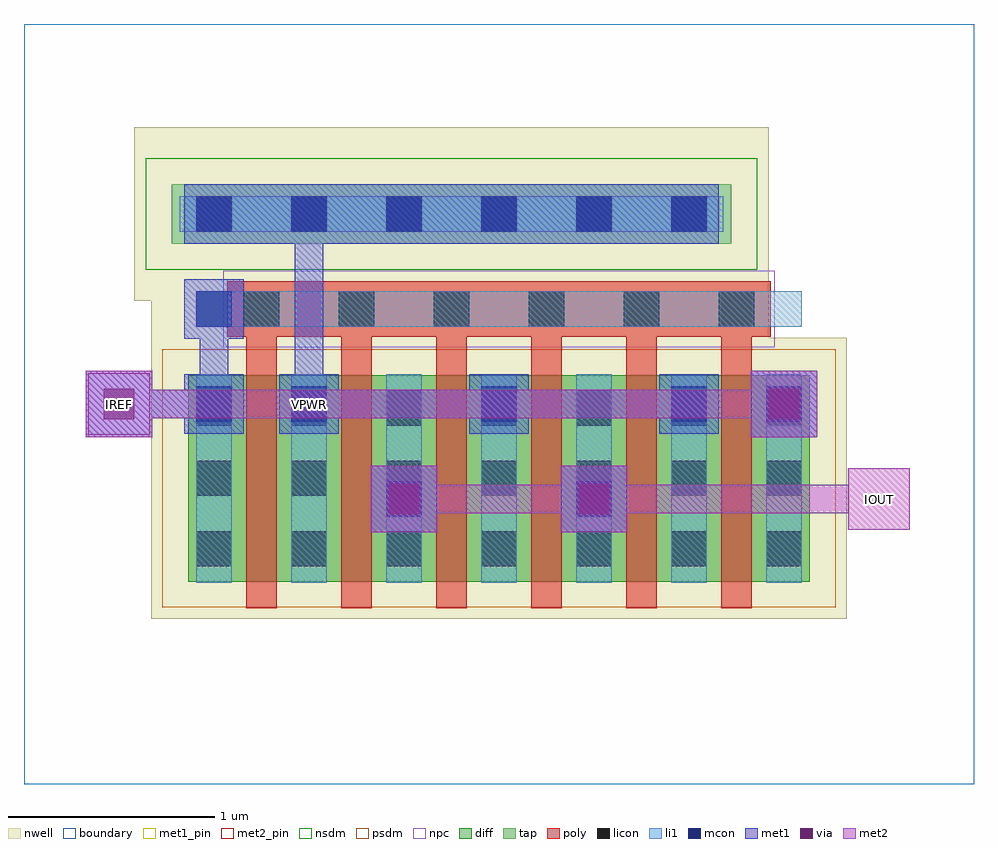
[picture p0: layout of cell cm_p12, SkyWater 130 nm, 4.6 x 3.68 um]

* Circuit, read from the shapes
.subckt cm_p12 IOUT IREF VPWR
XM1 VPWR IREF IREF VPWR sky130_fd_pr__pfet_01v8 w=1 l=0.15 m=2
XM2 IOUT IREF VPWR VPWR sky130_fd_pr__pfet_01v8 w=1 l=0.15 m=4
.ends

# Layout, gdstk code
import gdstk
lib = gdstk.Library(unit=1e-6, precision=1e-09)
def R(c, l, rs):  # rectangles x0, y0, x1, y1
    for r in rs: c.add(gdstk.rectangle(r[:2], r[2:], *l))
def A(c, l, x, y, w, h, nx, ny, dx, dy):  # array of equal rectangles
    R(c, l, [(x+i*dx, y+j*dy, x+i*dx+w, y+j*dy+h) for i in range(nx) for j in range(ny)])
nwell = (64, 20)
diff = (65, 20)
tap = (65, 44)
poly = (66, 20)
licon = (66, 44)
li1 = (67, 20)
mcon = (67, 44)
met1_pin = (68, 16)
met1 = (68, 20)
via = (68, 44)
met2_pin = (69, 16)
met2 = (69, 20)
nsdm = (93, 44)
psdm = (94, 20)
npc = (95, 20)
boundary = (235, 4)

cm_p12 = lib.new_cell('cm_p12')
R(cm_p12, nwell, [(0.615,0.8,3.985,2.16), (0.615,2.16,3.605,2.34), (0.535,2.34,3.605,3.18)])
R(cm_p12, diff, [(0.795,0.98,3.805,1.98)])
R(cm_p12, tap, [(0.715,2.615,3.425,2.905)])
A(cm_p12, poly, 1.075, 0.85, 0.15, 1.45, 6, 1, 0.46, 0)
R(cm_p12, poly, [(0.985,2.165,3.615,2.435)])
A(cm_p12, licon, 0.835, 1.055, 0.17, 0.17, 7, 3, 0.46, 0.34)
A(cm_p12, licon, 1.065, 2.215, 0.17, 0.17, 6, 1, 0.46, 0)
A(cm_p12, licon, 0.835, 2.675, 0.17, 0.17, 6, 1, 0.46, 0)
A(cm_p12, li1, 0.835, 0.975, 0.17, 1.01, 7, 1, 0.46, 0)
R(cm_p12, li1, [(0.835,2.215,3.765,2.385), (0.755,2.675,3.385,2.845)])
A(cm_p12, mcon, 1.295, 1.755, 0.17, 0.17, 3, 1, 0.92, 0)
A(cm_p12, mcon, 0.835, 2.675, 0.17, 0.17, 6, 1, 0.46, 0)
R(cm_p12, mcon, [(1.755,1.295,1.925,1.465), (2.675,1.295,2.845,1.465), (0.835,1.755,1.005,1.925), (3.595,1.755,3.765,1.925), (0.835,2.215,1.005,2.385)])
R(cm_p12, met1_pin, [(1.235,1.695,1.525,1.985)])
A(cm_p12, met1, 1.235, 1.695, 0.29, 0.29, 3, 1, 0.92, 0)
R(cm_p12, met1, [(1.68,1.22,2,1.54), (2.6,1.22,2.92,1.54), (1.695,1.235,1.985,1.525), (2.615,1.235,2.905,1.525), (0.3,1.68,0.62,2), (3.52,1.68,3.84,2), (0.775,1.695,1.065,1.985), (3.535,1.695,3.825,1.985), (0.39,1.77,0.99,1.91), (0.85,1.77,0.99,2.37), (1.31,1.77,2.37,1.91), (1.31,1.77,1.45,2.83), (2.23,1.77,3.29,1.91), (0.775,2.155,1.065,2.445), (0.775,2.615,3.365,2.905), (1.31,2.69,1.45,2.83)])
R(cm_p12, via, [(1.765,1.305,1.915,1.455), (2.685,1.305,2.835,1.455), (0.385,1.765,0.535,1.915), (3.605,1.765,3.755,1.915)])
R(cm_p12, met2_pin, [(3.99,1.23,4.29,1.53), (0.31,1.69,0.61,1.99)])
R(cm_p12, met2, [(1.68,1.22,2,1.54), (2.6,1.22,2.92,1.54), (3.99,1.23,4.29,1.53), (1.77,1.31,2.83,1.45), (2.69,1.31,4.21,1.45), (4.07,1.31,4.21,1.45), (0.3,1.68,0.62,2), (3.52,1.68,3.84,2), (0.31,1.69,0.61,1.99), (0.39,1.77,0.53,1.91), (0.39,1.77,3.75,1.91)])
R(cm_p12, nsdm, [(0.59,2.49,3.55,3.03)])
R(cm_p12, psdm, [(0.67,0.855,3.93,2.105)])
R(cm_p12, npc, [(0.965,2.115,3.635,2.485)])
R(cm_p12, boundary, [(0,0,4.6,3.68)])
cm_p12.add(gdstk.Label('VPWR', (1.38,1.84), layer=68, texttype=5))
cm_p12.add(gdstk.Label('IREF', (0.46,1.84), layer=69, texttype=5))
cm_p12.add(gdstk.Label('IOUT', (4.14,1.38), layer=69, texttype=5))
cm_p12.add(gdstk.Label('VPWR', (1.38,1.84), layer=68, texttype=16))
cm_p12.add(gdstk.Label('IREF', (0.46,1.84), layer=69, texttype=16))
cm_p12.add(gdstk.Label('IOUT', (4.14,1.38), layer=69, texttype=16))

lib.write_gds('cm_p12.gds')
